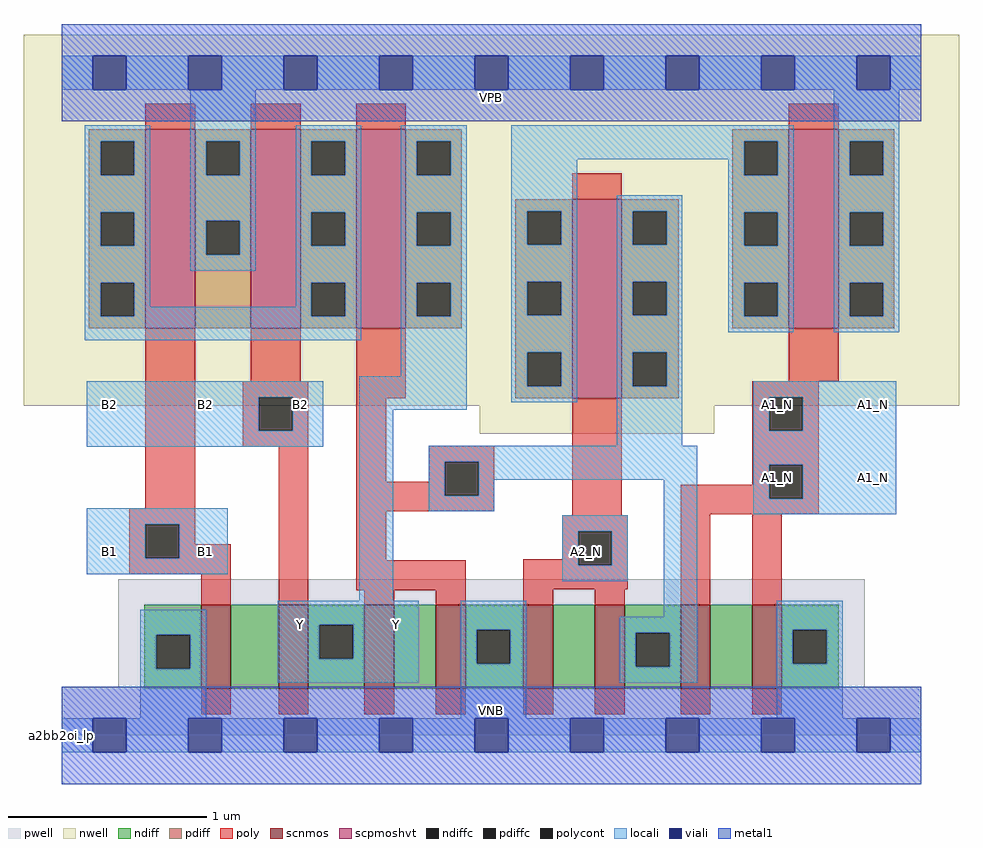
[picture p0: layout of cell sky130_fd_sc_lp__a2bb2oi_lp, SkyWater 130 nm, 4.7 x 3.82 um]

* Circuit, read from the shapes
.subckt sky130_fd_sc_lp__a2bb2oi_lp A1_N A2_N B1 B2 VGND VNB VPB VPWR Y
XM1 n1 B1 VGND VNB sky130_fd_pr__nfet_01v8 w=0.42 l=0.15
XM2 Y B2 n1 VNB sky130_fd_pr__nfet_01v8 w=0.42 l=0.15
XM3 n2 n3 Y VNB sky130_fd_pr__nfet_01v8 w=0.42 l=0.15
XM4 VGND n3 n2 VNB sky130_fd_pr__nfet_01v8 w=0.42 l=0.15
XM5 n4 A2_N VGND VNB sky130_fd_pr__nfet_01v8 w=0.42 l=0.15
XM6 n3 A2_N n4 VNB sky130_fd_pr__nfet_01v8 w=0.42 l=0.15
XM7 n5 A1_N n3 VNB sky130_fd_pr__nfet_01v8 w=0.42 l=0.15
XM8 VGND A1_N n5 VNB sky130_fd_pr__nfet_01v8 w=0.42 l=0.15
XM9 VPWR B1 n6 VPB sky130_fd_pr__pfet_01v8_hvt w=1 l=0.25
XM10 n6 B2 VPWR VPB sky130_fd_pr__pfet_01v8_hvt w=1 l=0.25
XM11 Y n3 n6 VPB sky130_fd_pr__pfet_01v8_hvt w=1 l=0.25
XM12 n3 A2_N n7 VPB sky130_fd_pr__pfet_01v8_hvt w=1 l=0.25
XM13 VPWR A1_N n7 VPB sky130_fd_pr__pfet_01v8_hvt w=1 l=0.25
.ends

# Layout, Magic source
magic
tech sky130A
magscale 1 2
<< nwell >>
rect -38 331 902 704
rect 420 303 656 331
<< pwell >>
rect 57 49 807 157
rect 0 0 864 49
<< scnmos >>
rect 140 47 170 131
rect 218 47 248 131
rect 304 47 334 131
rect 376 47 406 131
rect 464 47 494 131
rect 536 47 566 131
rect 622 47 652 131
rect 694 47 724 131
<< scpmoshvt >>
rect 84 409 134 609
rect 190 409 240 609
rect 296 409 346 609
rect 513 339 563 539
rect 731 409 781 609
<< ndiff >>
rect 83 101 140 131
rect 83 67 95 101
rect 129 67 140 101
rect 83 47 140 67
rect 170 47 218 131
rect 248 111 304 131
rect 248 77 259 111
rect 293 77 304 111
rect 248 47 304 77
rect 334 47 376 131
rect 406 106 464 131
rect 406 72 417 106
rect 451 72 464 106
rect 406 47 464 72
rect 494 47 536 131
rect 566 103 622 131
rect 566 69 577 103
rect 611 69 622 103
rect 566 47 622 69
rect 652 47 694 131
rect 724 106 781 131
rect 724 72 735 106
rect 769 72 781 106
rect 724 47 781 72
<< pdiff >>
rect 27 597 84 609
rect 27 563 39 597
rect 73 563 84 597
rect 27 526 84 563
rect 27 492 39 526
rect 73 492 84 526
rect 27 455 84 492
rect 27 421 39 455
rect 73 421 84 455
rect 27 409 84 421
rect 134 597 190 609
rect 134 563 145 597
rect 179 563 190 597
rect 134 517 190 563
rect 134 483 145 517
rect 179 483 190 517
rect 134 409 190 483
rect 240 597 296 609
rect 240 563 251 597
rect 285 563 296 597
rect 240 526 296 563
rect 240 492 251 526
rect 285 492 296 526
rect 240 455 296 492
rect 240 421 251 455
rect 285 421 296 455
rect 240 409 296 421
rect 346 597 402 609
rect 346 563 357 597
rect 391 563 402 597
rect 674 597 731 609
rect 346 526 402 563
rect 674 563 686 597
rect 720 563 731 597
rect 346 492 357 526
rect 391 492 402 526
rect 346 455 402 492
rect 346 421 357 455
rect 391 421 402 455
rect 346 409 402 421
rect 456 527 513 539
rect 456 493 468 527
rect 502 493 513 527
rect 456 456 513 493
rect 456 422 468 456
rect 502 422 513 456
rect 456 385 513 422
rect 456 351 468 385
rect 502 351 513 385
rect 456 339 513 351
rect 563 527 620 539
rect 563 493 574 527
rect 608 493 620 527
rect 563 456 620 493
rect 563 422 574 456
rect 608 422 620 456
rect 563 385 620 422
rect 674 526 731 563
rect 674 492 686 526
rect 720 492 731 526
rect 674 455 731 492
rect 674 421 686 455
rect 720 421 731 455
rect 674 409 731 421
rect 781 597 837 609
rect 781 563 792 597
rect 826 563 837 597
rect 781 526 837 563
rect 781 492 792 526
rect 826 492 837 526
rect 781 455 837 492
rect 781 421 792 455
rect 826 421 837 455
rect 781 409 837 421
rect 563 351 574 385
rect 608 351 620 385
rect 563 339 620 351
<< ndiffc >>
rect 95 67 129 101
rect 259 77 293 111
rect 417 72 451 106
rect 577 69 611 103
rect 735 72 769 106
<< pdiffc >>
rect 39 563 73 597
rect 39 492 73 526
rect 39 421 73 455
rect 145 563 179 597
rect 145 483 179 517
rect 251 563 285 597
rect 251 492 285 526
rect 251 421 285 455
rect 357 563 391 597
rect 686 563 720 597
rect 357 492 391 526
rect 357 421 391 455
rect 468 493 502 527
rect 468 422 502 456
rect 468 351 502 385
rect 574 493 608 527
rect 574 422 608 456
rect 686 492 720 526
rect 686 421 720 455
rect 792 563 826 597
rect 792 492 826 526
rect 792 421 826 455
rect 574 351 608 385
<< poly >>
rect 84 609 134 635
rect 190 609 240 635
rect 296 609 346 635
rect 731 609 781 635
rect 513 539 563 565
rect 84 228 134 409
rect 190 356 240 409
rect 182 340 248 356
rect 182 306 198 340
rect 232 306 248 340
rect 182 290 248 306
rect 68 212 134 228
rect 68 178 84 212
rect 118 192 134 212
rect 118 178 170 192
rect 68 162 170 178
rect 140 131 170 162
rect 218 131 248 290
rect 296 339 346 409
rect 731 356 781 409
rect 694 340 761 356
rect 296 255 326 339
rect 369 275 435 291
rect 369 255 385 275
rect 296 241 385 255
rect 419 241 435 275
rect 296 225 435 241
rect 296 176 326 225
rect 513 221 563 339
rect 694 306 711 340
rect 745 306 761 340
rect 694 272 761 306
rect 694 252 711 272
rect 622 238 711 252
rect 745 238 761 272
rect 622 222 761 238
rect 503 205 569 221
rect 503 177 519 205
rect 296 146 406 176
rect 304 131 334 146
rect 376 131 406 146
rect 464 171 519 177
rect 553 171 569 205
rect 464 147 569 171
rect 464 131 494 147
rect 536 131 566 147
rect 622 131 652 222
rect 694 131 724 222
rect 140 21 170 47
rect 218 21 248 47
rect 304 21 334 47
rect 376 21 406 47
rect 464 21 494 47
rect 536 21 566 47
rect 622 21 652 47
rect 694 21 724 47
<< polycont >>
rect 198 306 232 340
rect 84 178 118 212
rect 385 241 419 275
rect 711 306 745 340
rect 711 238 745 272
rect 519 171 553 205
<< locali >>
rect 0 649 31 683
rect 65 649 127 683
rect 161 649 223 683
rect 257 649 319 683
rect 353 649 415 683
rect 449 649 511 683
rect 545 649 607 683
rect 641 649 703 683
rect 737 649 799 683
rect 833 649 864 683
rect 23 597 89 613
rect 23 563 39 597
rect 73 563 89 597
rect 23 526 89 563
rect 23 492 39 526
rect 73 492 89 526
rect 23 455 89 492
rect 129 597 195 649
rect 129 563 145 597
rect 179 563 195 597
rect 129 517 195 563
rect 129 483 145 517
rect 179 483 195 517
rect 129 467 195 483
rect 235 597 301 613
rect 235 563 251 597
rect 285 563 301 597
rect 235 526 301 563
rect 235 492 251 526
rect 285 492 301 526
rect 23 421 39 455
rect 73 431 89 455
rect 235 455 301 492
rect 235 431 251 455
rect 73 421 251 431
rect 285 421 301 455
rect 23 397 301 421
rect 341 597 407 613
rect 341 563 357 597
rect 391 563 407 597
rect 341 526 407 563
rect 341 492 357 526
rect 391 492 407 526
rect 341 455 407 492
rect 341 421 357 455
rect 391 421 407 455
rect 341 361 407 421
rect 25 340 263 356
rect 25 306 198 340
rect 232 306 263 340
rect 25 290 263 306
rect 299 327 407 361
rect 452 597 736 613
rect 452 579 686 597
rect 452 527 518 579
rect 670 563 686 579
rect 720 563 736 597
rect 452 493 468 527
rect 502 493 518 527
rect 452 456 518 493
rect 452 422 468 456
rect 502 422 518 456
rect 452 385 518 422
rect 452 351 468 385
rect 502 351 518 385
rect 452 335 518 351
rect 558 527 624 543
rect 558 493 574 527
rect 608 493 624 527
rect 558 456 624 493
rect 558 422 574 456
rect 608 422 624 456
rect 558 385 624 422
rect 670 526 736 563
rect 670 492 686 526
rect 720 492 736 526
rect 670 455 736 492
rect 670 421 686 455
rect 720 421 736 455
rect 670 405 736 421
rect 776 597 842 649
rect 776 563 792 597
rect 826 563 842 597
rect 776 526 842 563
rect 776 492 792 526
rect 826 492 842 526
rect 776 455 842 492
rect 776 421 792 455
rect 826 421 842 455
rect 776 405 842 421
rect 558 351 574 385
rect 608 351 624 385
rect 25 212 167 228
rect 25 178 84 212
rect 118 178 167 212
rect 25 162 167 178
rect 299 135 333 327
rect 558 291 624 351
rect 695 340 839 356
rect 695 306 711 340
rect 745 306 839 340
rect 369 275 639 291
rect 369 241 385 275
rect 419 257 639 275
rect 419 241 435 257
rect 369 225 435 241
rect 503 205 569 221
rect 503 171 519 205
rect 553 171 569 205
rect 503 155 569 171
rect 79 101 145 126
rect 79 67 95 101
rect 129 67 145 101
rect 79 17 145 67
rect 217 111 359 135
rect 217 77 259 111
rect 293 77 359 111
rect 217 53 359 77
rect 401 106 467 135
rect 605 119 639 257
rect 695 272 839 306
rect 695 238 711 272
rect 745 238 839 272
rect 695 222 839 238
rect 401 72 417 106
rect 451 72 467 106
rect 401 17 467 72
rect 561 103 639 119
rect 561 69 577 103
rect 611 69 639 103
rect 561 53 639 69
rect 719 106 785 135
rect 719 72 735 106
rect 769 72 785 106
rect 719 17 785 72
rect 0 -17 31 17
rect 65 -17 127 17
rect 161 -17 223 17
rect 257 -17 319 17
rect 353 -17 415 17
rect 449 -17 511 17
rect 545 -17 607 17
rect 641 -17 703 17
rect 737 -17 799 17
rect 833 -17 864 17
<< viali >>
rect 31 649 65 683
rect 127 649 161 683
rect 223 649 257 683
rect 319 649 353 683
rect 415 649 449 683
rect 511 649 545 683
rect 607 649 641 683
rect 703 649 737 683
rect 799 649 833 683
rect 31 -17 65 17
rect 127 -17 161 17
rect 223 -17 257 17
rect 319 -17 353 17
rect 415 -17 449 17
rect 511 -17 545 17
rect 607 -17 641 17
rect 703 -17 737 17
rect 799 -17 833 17
<< metal1 >>
rect 0 683 864 715
rect 0 649 31 683
rect 65 649 127 683
rect 161 649 223 683
rect 257 649 319 683
rect 353 649 415 683
rect 449 649 511 683
rect 545 649 607 683
rect 641 649 703 683
rect 737 649 799 683
rect 833 649 864 683
rect 0 617 864 649
rect 0 17 864 49
rect 0 -17 31 17
rect 65 -17 127 17
rect 161 -17 223 17
rect 257 -17 319 17
rect 353 -17 415 17
rect 449 -17 511 17
rect 545 -17 607 17
rect 641 -17 703 17
rect 737 -17 799 17
rect 833 -17 864 17
rect 0 -49 864 -17
<< labels >>
flabel pwell s 0 0 864 49 0 FreeSans 200 0 0 0 VNB
port 6 nsew ground bidirectional
flabel nwell s 0 617 864 666 0 FreeSans 200 0 0 0 VPB
port 7 nsew power bidirectional
rlabel comment s 0 0 0 0 4 a2bb2oi_lp
flabel metal1 s 0 617 864 666 0 FreeSans 340 0 0 0 VPWR
port 8 nsew power bidirectional
flabel metal1 s 0 0 864 49 0 FreeSans 340 0 0 0 VGND
port 5 nsew ground bidirectional
flabel locali s 703 242 737 276 0 FreeSans 340 0 0 0 A1_N
port 1 nsew signal input
flabel locali s 703 316 737 350 0 FreeSans 340 0 0 0 A1_N
port 1 nsew signal input
flabel locali s 799 242 833 276 0 FreeSans 340 0 0 0 A1_N
port 1 nsew signal input
flabel locali s 799 316 833 350 0 FreeSans 340 0 0 0 A1_N
port 1 nsew signal input
flabel locali s 31 168 65 202 0 FreeSans 340 0 0 0 B1
port 3 nsew signal input
flabel locali s 127 168 161 202 0 FreeSans 340 0 0 0 B1
port 3 nsew signal input
flabel locali s 511 168 545 202 0 FreeSans 340 0 0 0 A2_N
port 2 nsew signal input
flabel locali s 31 316 65 350 0 FreeSans 340 0 0 0 B2
port 4 nsew signal input
flabel locali s 127 316 161 350 0 FreeSans 340 0 0 0 B2
port 4 nsew signal input
flabel locali s 223 316 257 350 0 FreeSans 340 0 0 0 B2
port 4 nsew signal input
flabel locali s 223 94 257 128 0 FreeSans 340 0 0 0 Y
port 9 nsew signal output
flabel locali s 319 94 353 128 0 FreeSans 340 0 0 0 Y
port 9 nsew signal output
<< properties >>
string LEFsite unit
string LEFclass CORE
string FIXED_BBOX 0 0 864 666
string GDS_FILE $PDKPATH/libs.ref/sky130_fd_sc_lp/gds/sky130_fd_sc_lp.gds
string LEFsymmetry X Y R90
string GDS_END 3077816
string GDS_START 3069366
<< end >>
